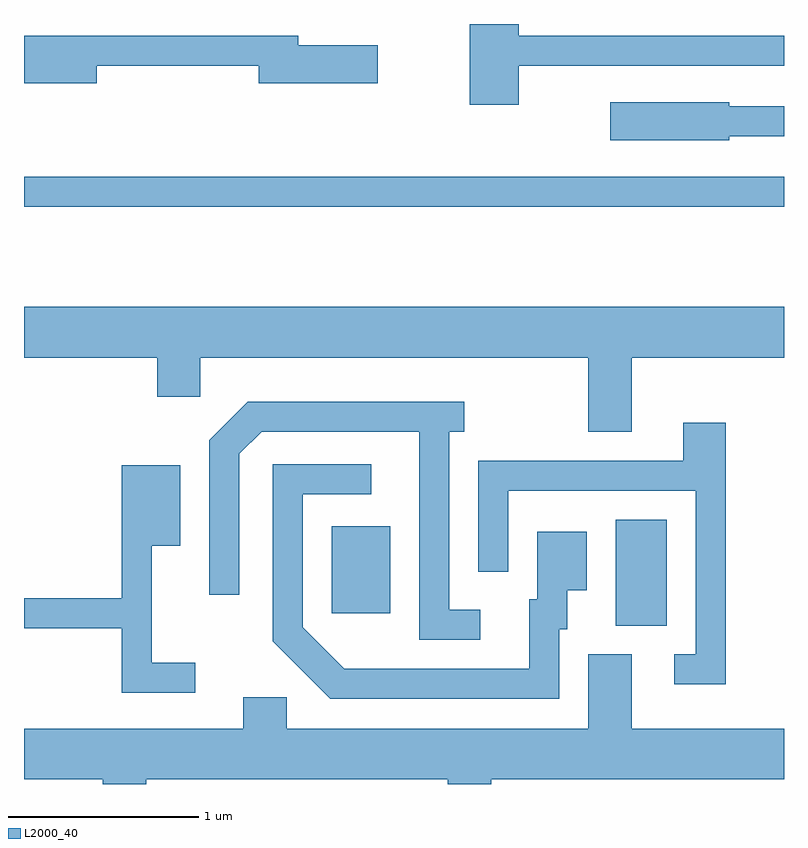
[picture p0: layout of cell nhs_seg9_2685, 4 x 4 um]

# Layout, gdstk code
import gdstk
lib = gdstk.Library(unit=1e-6, precision=1e-09)
def R(c, l, rs):  # rectangles x0, y0, x1, y1
    for r in rs: c.add(gdstk.rectangle(r[:2], r[2:], *l))
def P(c, l, *ps):  # polygons
    for p in ps: c.add(gdstk.Polygon(p, *l))
L2000_40 = (2000, 40)

nhs_seg9_2685 = lib.new_cell('nhs_seg9_2685')
R(nhs_seg9_2685, L2000_40, [(266.726,2019.266,266.994,2019.824), (265.231,2019.331,265.539,2019.789), (263.611,2021.471,267.611,2021.629)])
P(nhs_seg9_2685, L2000_40, [(266.214,2022.211),(267.611,2022.211),(267.611,2022.369),(266.214,2022.369),(266.214,2022.432),(265.956,2022.432),(265.956,2022.006),(266.214,2022.006)],
  [(263.994,2022.211),(264.846,2022.211),(264.846,2022.121),(265.474,2022.121),(265.474,2022.319),(265.054,2022.319),(265.054,2022.369),(263.611,2022.369),(263.611,2022.121),(263.994,2022.121)],
  [(267.324,2021.841),(267.611,2021.841),(267.611,2021.999),(267.324,2021.999),(267.324,2022.019),(266.696,2022.019),(266.696,2021.821),(267.324,2021.821)],
  [(266.809,2020.676),(267.611,2020.676),(267.611,2020.944),(263.611,2020.944),(263.611,2020.676),(264.311,2020.676),(264.311,2020.471),(264.539,2020.471),(264.539,2020.676),(266.581,2020.676),(266.581,2020.286),(266.809,2020.286)],
  [(266.013,2019.349),(265.849,2019.349),(265.849,2020.286),(265.928,2020.286),(265.928,2020.444),(264.789,2020.444),(264.586,2020.242),(264.586,2019.428),(264.744,2019.428),(264.744,2020.169),(264.862,2020.286),(265.691,2020.286),(265.691,2019.191),(266.013,2019.191)],
  [(267.304,2020.334),(267.081,2020.334),(267.081,2020.134),(266.001,2020.134),(266.001,2019.548),(266.159,2019.548),(266.159,2019.976),(267.146,2019.976),(267.146,2019.114),(267.033,2019.114),(267.033,2018.956),(267.304,2018.956)],
  [(266.429,2019.246),(266.469,2019.246),(266.469,2019.451),(266.574,2019.451),(266.574,2019.759),(266.311,2019.759),(266.311,2019.404),(266.271,2019.404),(266.271,2019.039),(265.297,2019.039),(265.079,2019.257),(265.079,2019.956),(265.438,2019.956),(265.438,2020.114),(264.921,2020.114),(264.921,2019.184),(265.224,2018.881),(266.429,2018.881)],
  [(264.513,2019.069),(264.284,2019.069),(264.284,2019.686),(264.434,2019.686),(264.434,2020.109),(264.126,2020.109),(264.126,2019.409),(263.611,2019.409),(263.611,2019.251),(264.126,2019.251),(264.126,2018.911),(264.513,2018.911)],
  [(264.254,2018.456),(265.841,2018.456),(265.841,2018.432),(266.069,2018.432),(266.069,2018.456),(267.611,2018.456),(267.611,2018.724),(266.809,2018.724),(266.809,2019.114),(266.581,2019.114),(266.581,2018.724),(264.994,2018.724),(264.994,2018.889),(264.766,2018.889),(264.766,2018.724),(263.611,2018.724),(263.611,2018.456),(264.026,2018.456),(264.026,2018.432),(264.254,2018.432)])

lib.write_gds('nhs_seg9_2685.gds')
